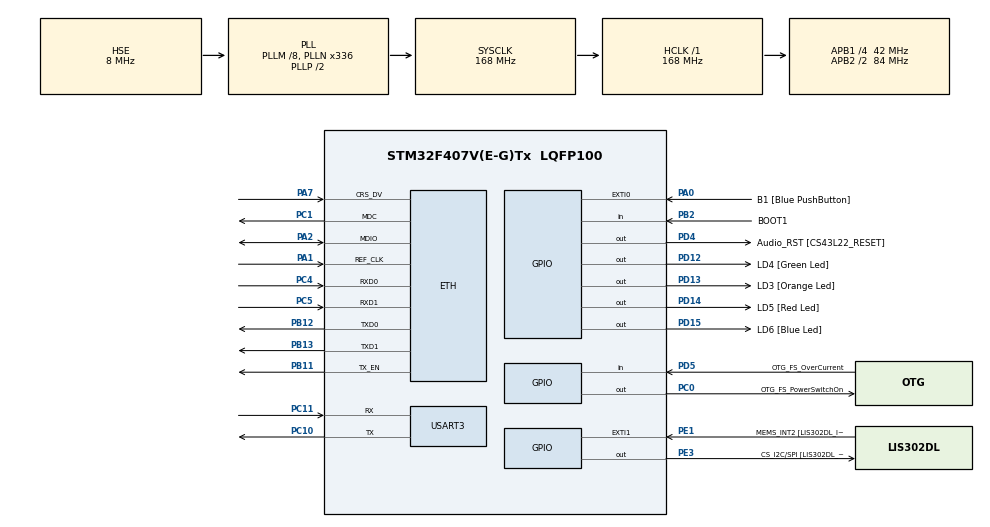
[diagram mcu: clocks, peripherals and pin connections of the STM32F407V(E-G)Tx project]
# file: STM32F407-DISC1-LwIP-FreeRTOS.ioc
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ETH.MediaInterface=HAL_ETH_RMII_MODE
ETH.PHY_Name_RMII=DP83848_PHY_ADDRESS
FREERTOS.Tasks01=defaultTask,24,256,StartDefaultTask,Default,NULL,Dynamic,NULL,NULL
FREERTOS.configGENERATE_RUN_TIME_STATS=1
FREERTOS.configRECORD_STACK_HIGH_ADDRESS=1
LWIP.BSP.number=1
LWIP.DHCP_DEBUG=LWIP_DBG_ON
LWIP.ICMP_DEBUG=LWIP_DBG_ON
LWIP.Version=v2.1.2_Cube
LWIP0.BSP.STBoard=false
LWIP0.BSP.api=BSP_COMPONENT_DRIVER
LWIP0.BSP.component=DP83848
LWIP0.BSP.instance=DP83848
LWIP0.BSP.name=Driver_PHY
LWIP0.BSP.semaphore=S_DP83848
LWIP0.BSP.solution=DP83848
Mcu.Family=STM32F4
Mcu.Name=STM32F407V(E-G)Tx
Mcu.Package=LQFP100
NVIC.ETH_IRQn=true\:5\:0\:false\:false\:true\:true\:false\:true\:true
NVIC.PriorityGroup=NVIC_PRIORITYGROUP_4
NVIC.TIM6_DAC_IRQn=true\:15\:0\:false\:false\:true\:false\:false\:true\:true
NVIC.TimeBase=TIM6_DAC_IRQn
NVIC.TimeBaseIP=TIM6
PA0-WKUP.GPIO_Label=B1 [Blue PushButton]
PA0-WKUP.Signal=GPXTI0
PA1.Mode=RMII
PA1.Signal=ETH_REF_CLK
PA10.GPIO_Label=OTG_FS_ID
PA10.GPIO_Mode=GPIO_MODE_AF_PP
PA10.GPIO_PuPd=GPIO_NOPULL
PA10.GPIO_Speed=GPIO_SPEED_FREQ_LOW
PA10.Signal=USB_OTG_FS_ID
PA11.GPIO_Label=OTG_FS_DM
PA11.GPIO_Mode=GPIO_MODE_AF_PP
PA11.GPIO_PuPd=GPIO_NOPULL
PA11.GPIO_Speed=GPIO_SPEED_FREQ_LOW
PA11.Signal=USB_OTG_FS_DM
PA12.GPIO_Label=OTG_FS_DP
PA12.GPIO_Mode=GPIO_MODE_AF_PP
PA12.GPIO_PuPd=GPIO_NOPULL
PA12.GPIO_Speed=GPIO_SPEED_FREQ_LOW
PA12.Signal=USB_OTG_FS_DP
PA13.GPIO_Label=SWDIO
PA13.Mode=Serial_Wire
PA13.Signal=SYS_JTMS-SWDIO
PA14.GPIO_Label=SWCLK
PA14.Mode=Serial_Wire
PA14.Signal=SYS_JTCK-SWCLK
PA2.Mode=RMII
PA2.Signal=ETH_MDIO
PA4.GPIO_Label=I2S3_WS [CS43L22_LRCK]
PA4.GPIO_Mode=GPIO_MODE_AF_PP
PA4.GPIO_PuPd=GPIO_NOPULL
PA4.GPIO_Speed=GPIO_SPEED_FREQ_LOW
PA4.Signal=I2S3_WS
PA5.GPIO_Label=SPI1_SCK [LIS302DL_SCL/SPC]
PA5.GPIO_Mode=GPIO_MODE_AF_PP
PA5.GPIO_PuPd=GPIO_NOPULL
PA5.GPIO_Speed=GPIO_SPEED_FREQ_LOW
PA5.Signal=SPI1_SCK
PA6.GPIO_Label=SPI1_MISO [LIS302DL_SDO]
PA6.GPIO_Mode=GPIO_MODE_AF_PP
PA6.GPIO_PuPd=GPIO_NOPULL
PA6.GPIO_Speed=GPIO_SPEED_FREQ_LOW
PA6.Signal=SPI1_MISO
PA7.Mode=RMII
PA7.Signal=ETH_CRS_DV
PA9.GPIO_Label=VBUS_FS
PA9.GPIO_Mode=GPIO_MODE_INPUT
PA9.GPIO_PuPd=GPIO_NOPULL
PA9.Signal=USB_OTG_FS_VBUS
PB10.GPIO_Label=CLK_IN [MP45DT02_CLK]
PB10.GPIO_Mode=GPIO_MODE_AF_PP
PB10.GPIO_PuPd=GPIO_NOPULL
PB10.GPIO_Speed=GPIO_SPEED_FREQ_LOW
PB10.Signal=I2S2_CK
PB11.Mode=RMII
PB11.Signal=ETH_TX_EN
PB12.Mode=RMII
PB12.Signal=ETH_TXD0
PB13.Mode=RMII
PB13.Signal=ETH_TXD1
PB2.GPIO_Label=BOOT1
PB2.GPIO_Mode=GPIO_MODE_INPUT
PB2.GPIO_PuPd=GPIO_NOPULL
PB2.Signal=GPIO_Input
PB3.GPIO_Label=SWO
PB3.Signal=SYS_JTDO-SWO
PB6.GPIO_Label=Audio_SCL [CS43L22_SCL]
PB6.GPIO_Mode=GPIO_MODE_AF_OD
PB6.GPIO_PuPd=GPIO_NOPULL
PB6.GPIO_Speed=GPIO_SPEED_FREQ_LOW
PB6.Signal=I2C1_SCL
PB9.GPIO_Label=Audio_SDA [CS43L22_SDA]
PB9.GPIO_Mode=GPIO_MODE_AF_OD
PB9.GPIO_PuPd=GPIO_NOPULL
PB9.GPIO_Speed=GPIO_SPEED_FREQ_LOW
PB9.Signal=I2C1_SDA
PC0.GPIO_Label=OTG_FS_PowerSwitchOn
PC0.GPIO_PuPd=GPIO_NOPULL
PC0.GPIO_Speed=GPIO_SPEED_FREQ_LOW
PC0.PinState=GPIO_PIN_SET
PC0.Signal=GPIO_Output
PC1.Mode=RMII
PC1.Signal=ETH_MDC
PC10.Mode=Asynchronous
PC10.Signal=USART3_TX
PC11.Mode=Asynchronous
PC11.Signal=USART3_RX
PC12.GPIO_Label=I2S3_SD [CS43L22_SDIN]
PC12.GPIO_Mode=GPIO_MODE_AF_PP
PC12.GPIO_PuPd=GPIO_NOPULL
PC12.GPIO_Speed=GPIO_SPEED_FREQ_LOW
PC12.Signal=I2S3_SD
PC14-OSC32_IN.GPIO_Label=PC14-OSC32_IN
PC14-OSC32_IN.Signal=RCC_OSC32_IN
PC15-OSC32_OUT.GPIO_Label=PC15-OSC32_OUT
PC15-OSC32_OUT.Signal=RCC_OSC32_OUT
PC3.GPIO_Label=PDM_OUT [MP45DT02_DOUT]
PC3.GPIO_Mode=GPIO_MODE_AF_PP
PC3.GPIO_PuPd=GPIO_NOPULL
PC3.GPIO_Speed=GPIO_SPEED_FREQ_LOW
PC3.Signal=I2S2_SD
PC4.Mode=RMII
PC4.Signal=ETH_RXD0
PC5.Mode=RMII
PC5.Signal=ETH_RXD1
PC7.GPIO_Label=I2S3_MCK [CS43L22_MCLK]
PC7.GPIO_Mode=GPIO_MODE_AF_PP
PC7.GPIO_PuPd=GPIO_NOPULL
PC7.GPIO_Speed=GPIO_SPEED_FREQ_LOW
PC7.Signal=I2S3_MCK
PD12.GPIO_Label=LD4 [Green Led]
PD12.GPIO_PuPd=GPIO_NOPULL
PD12.GPIO_Speed=GPIO_SPEED_FREQ_LOW
PD12.Signal=GPIO_Output
PD13.GPIO_Label=LD3 [Orange Led]
PD13.GPIO_PuPd=GPIO_NOPULL
PD13.GPIO_Speed=GPIO_SPEED_FREQ_LOW
PD13.Signal=GPIO_Output
PD14.GPIO_Label=LD5 [Red Led]
PD14.GPIO_PuPd=GPIO_NOPULL
PD14.GPIO_Speed=GPIO_SPEED_FREQ_LOW
PD14.Signal=GPIO_Output
PD15.GPIO_Label=LD6 [Blue Led]
PD15.GPIO_PuPd=GPIO_NOPULL
PD15.GPIO_Speed=GPIO_SPEED_FREQ_LOW
PD15.Signal=GPIO_Output
PD4.GPIO_Label=Audio_RST [CS43L22_RESET]
PD4.GPIO_PuPd=GPIO_NOPULL
PD4.GPIO_Speed=GPIO_SPEED_FREQ_LOW
PD4.Signal=GPIO_Output
PD5.GPIO_Label=OTG_FS_OverCurrent
PD5.GPIO_Mode=GPIO_MODE_INPUT
PD5.GPIO_PuPd=GPIO_NOPULL
PD5.Signal=GPIO_Input
PE1.GPIO_Label=MEMS_INT2 [LIS302DL_INT2]
PE1.GPIO_ModeDefaultEXTI=GPIO_MODE_EVT_RISING
PE1.GPIO_PuPd=GPIO_NOPULL
PE1.Signal=GPXTI1
PE3.GPIO_Label=CS_I2C/SPI [LIS302DL_CS_I2C/SPI]
PE3.GPIO_PuPd=GPIO_NOPULL
PE3.GPIO_Speed=GPIO_SPEED_FREQ_LOW
PE3.Signal=GPIO_Output
PH0-OSC_IN.GPIO_Label=PH0-OSC_IN
PH0-OSC_IN.Mode=HSE-External-Oscillator
PH0-OSC_IN.Signal=RCC_OSC_IN
PH1-OSC_OUT.GPIO_Label=PH1-OSC_OUT
PH1-OSC_OUT.Mode=HSE-External-Oscillator
PH1-OSC_OUT.Signal=RCC_OSC_OUT
ProjectManager.HeapSize=0x200
ProjectManager.StackSize=0x400
ProjectManager.TargetToolchain=Makefile
RCC.48MHZClocksFreq_Value=48000000
RCC.AHBFreq_Value=168000000
RCC.APB1CLKDivider=RCC_HCLK_DIV4
RCC.APB1Freq_Value=42000000
RCC.APB1TimFreq_Value=84000000
RCC.APB2CLKDivider=RCC_HCLK_DIV2
RCC.APB2Freq_Value=84000000
RCC.APB2TimFreq_Value=168000000
RCC.CortexFreq_Value=168000000
RCC.HCLKFreq_Value=168000000
RCC.HSE_VALUE=8000000
RCC.HSI_VALUE=16000000
RCC.LSE_VALUE=32768
RCC.PLLM=8
RCC.PLLN=336
RCC.PLLQ=7
RCC.PLLSourceVirtual=RCC_PLLSOURCE_HSE
RCC.SYSCLKFreq_VALUE=168000000
RCC.SYSCLKSource=RCC_SYSCLKSOURCE_PLLCLK
RCC.VCOOutputFreq_Value=336000000
USART3.VirtualMode=VM_ASYNC
VP_FREERTOS_VS_CMSIS_V2.Mode=CMSIS_V2
VP_LWIP_VS_Enabled.Mode=Enabled
VP_SYS_VS_tim6.Mode=TIM6
board=STM32F407G-DISC1

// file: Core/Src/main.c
/* USER CODE BEGIN Header */
/**
  ******************************************************************************
  * @file           : main.c
  * @brief          : Main program body
  ******************************************************************************
  * @attention
  *
  * Copyright (c) 2023 STMicroelectronics.
  * All rights reserved.
  *
  * This software is licensed under terms that can be found in the LICENSE file
  * in the root directory of this software component.
  * If no LICENSE file comes with this software, it is provided AS-IS.
  *
  ******************************************************************************
  */
/* USER CODE END Header */
#include "main.h"
#include "cmsis_os.h"
#include "lwip.h"

/* USER CODE BEGIN Includes */
#include "retarget.h"
/* USER CODE END Includes */

UART_HandleTypeDef huart3;

/* Definitions for defaultTask */
osThreadId_t defaultTaskHandle;
const osThreadAttr_t defaultTask_attributes = {
  .name = "defaultTask",
  .stack_size = 256 * 4,
  .priority = (osPriority_t) osPriorityNormal,
};

void SystemClock_Config(void);
static void MX_GPIO_Init(void);
static void MX_USART3_UART_Init(void);
void StartDefaultTask(void *argument);

int main(void)
{

  /* MCU Configuration--------------------------------------------------------*/

  /* Reset of all peripherals, Initializes the Flash interface and the Systick. */
  HAL_Init();

  /* Configure the system clock */
  SystemClock_Config();

  /* Initialize all configured peripherals */
  MX_GPIO_Init();
  MX_USART3_UART_Init();
  /* USER CODE BEGIN 2 */
  RetargetInit(&huart3);
  setvbuf(stdin, NULL, _IONBF, 0);
  setvbuf(stdout, NULL, _IONBF, 0);
  setvbuf(stderr, NULL, _IONBF, 0);
  /* USER CODE END 2 */

  /* Init scheduler */
  osKernelInitialize();

  /* Create the thread(s) */
  /* creation of defaultTask */
  defaultTaskHandle = osThreadNew(StartDefaultTask, NULL, &defaultTask_attributes);

  /* Start scheduler */
  osKernelStart();

  /* We should never get here as control is now taken by the scheduler */
  /* Infinite loop */
  while (1)
  {

  }
}

void SystemClock_Config(void)
{
  RCC_OscInitTypeDef RCC_OscInitStruct = {0};
  RCC_ClkInitTypeDef RCC_ClkInitStruct = {0};

  /** Configure the main internal regulator output voltage
  */
  __HAL_RCC_PWR_CLK_ENABLE();
  __HAL_PWR_VOLTAGESCALING_CONFIG(PWR_REGULATOR_VOLTAGE_SCALE1);

  /** Initializes the RCC Oscillators according to the specified parameters
  * in the RCC_OscInitTypeDef structure.
  */
  RCC_OscInitStruct.OscillatorType = RCC_OSCILLATORTYPE_HSE;
  RCC_OscInitStruct.HSEState = RCC_HSE_ON;
  RCC_OscInitStruct.PLL.PLLState = RCC_PLL_ON;
  RCC_OscInitStruct.PLL.PLLSource = RCC_PLLSOURCE_HSE;
  RCC_OscInitStruct.PLL.PLLM = 8;
  RCC_OscInitStruct.PLL.PLLN = 336;
  RCC_OscInitStruct.PLL.PLLP = RCC_PLLP_DIV2;
  RCC_OscInitStruct.PLL.PLLQ = 7;
  if (HAL_RCC_OscConfig(&RCC_OscInitStruct) != HAL_OK)
  {
    Error_Handler();
  }

  /** Initializes the CPU, AHB and APB buses clocks
  */
  RCC_ClkInitStruct.ClockType = RCC_CLOCKTYPE_HCLK|RCC_CLOCKTYPE_SYSCLK
                              |RCC_CLOCKTYPE_PCLK1|RCC_CLOCKTYPE_PCLK2;
  RCC_ClkInitStruct.SYSCLKSource = RCC_SYSCLKSOURCE_PLLCLK;
  RCC_ClkInitStruct.AHBCLKDivider = RCC_SYSCLK_DIV1;
  RCC_ClkInitStruct.APB1CLKDivider = RCC_HCLK_DIV4;
  RCC_ClkInitStruct.APB2CLKDivider = RCC_HCLK_DIV2;

  if (HAL_RCC_ClockConfig(&RCC_ClkInitStruct, FLASH_LATENCY_5) != HAL_OK)
  {
    Error_Handler();
  }
}

static void MX_USART3_UART_Init(void)
{

  huart3.Instance = USART3;
  huart3.Init.BaudRate = 115200;
  huart3.Init.WordLength = UART_WORDLENGTH_8B;
  huart3.Init.StopBits = UART_STOPBITS_1;
  huart3.Init.Parity = UART_PARITY_NONE;
  huart3.Init.Mode = UART_MODE_TX_RX;
  huart3.Init.HwFlowCtl = UART_HWCONTROL_NONE;
  huart3.Init.OverSampling = UART_OVERSAMPLING_16;
  if (HAL_UART_Init(&huart3) != HAL_OK)
  {
    Error_Handler();
  }

}

static void MX_GPIO_Init(void)
{
  GPIO_InitTypeDef GPIO_InitStruct = {0};

  /* GPIO Ports Clock Enable */
  __HAL_RCC_GPIOE_CLK_ENABLE();
  __HAL_RCC_GPIOC_CLK_ENABLE();
  __HAL_RCC_GPIOH_CLK_ENABLE();
  __HAL_RCC_GPIOA_CLK_ENABLE();
  __HAL_RCC_GPIOB_CLK_ENABLE();
  __HAL_RCC_GPIOD_CLK_ENABLE();

  /*Configure GPIO pin Output Level */
  HAL_GPIO_WritePin(CS_I2C_SPI_GPIO_Port, CS_I2C_SPI_Pin, GPIO_PIN_RESET);

  /*Configure GPIO pin Output Level */
  HAL_GPIO_WritePin(OTG_FS_PowerSwitchOn_GPIO_Port, OTG_FS_PowerSwitchOn_Pin, GPIO_PIN_SET);

  /*Configure GPIO pin Output Level */
  HAL_GPIO_WritePin(GPIOD, LD4_Pin|LD3_Pin|LD5_Pin|LD6_Pin
                          |Audio_RST_Pin, GPIO_PIN_RESET);

  /*Configure GPIO pin : CS_I2C_SPI_Pin */
  GPIO_InitStruct.Pin = CS_I2C_SPI_Pin;
  GPIO_InitStruct.Mode = GPIO_MODE_OUTPUT_PP;
  GPIO_InitStruct.Pull = GPIO_NOPULL;
  GPIO_InitStruct.Speed = GPIO_SPEED_FREQ_LOW;
  HAL_GPIO_Init(CS_I2C_SPI_GPIO_Port, &GPIO_InitStruct);

  /*Configure GPIO pin : OTG_FS_PowerSwitchOn_Pin */
  GPIO_InitStruct.Pin = OTG_FS_PowerSwitchOn_Pin;
  GPIO_InitStruct.Mode = GPIO_MODE_OUTPUT_PP;
  GPIO_InitStruct.Pull = GPIO_NOPULL;
  GPIO_InitStruct.Speed = GPIO_SPEED_FREQ_LOW;
  HAL_GPIO_Init(OTG_FS_PowerSwitchOn_GPIO_Port, &GPIO_InitStruct);

  /*Configure GPIO pin : PDM_OUT_Pin */
  GPIO_InitStruct.Pin = PDM_OUT_Pin;
  GPIO_InitStruct.Mode = GPIO_MODE_AF_PP;
  GPIO_InitStruct.Pull = GPIO_NOPULL;
  GPIO_InitStruct.Speed = GPIO_SPEED_FREQ_LOW;
  GPIO_InitStruct.Alternate = GPIO_AF5_SPI2;
  HAL_GPIO_Init(PDM_OUT_GPIO_Port, &GPIO_InitStruct);

  /*Configure GPIO pin : B1_Pin */
  GPIO_InitStruct.Pin = B1_Pin;
  GPIO_InitStruct.Mode = GPIO_MODE_IT_RISING;
  GPIO_InitStruct.Pull = GPIO_NOPULL;
  HAL_GPIO_Init(B1_GPIO_Port, &GPIO_InitStruct);

  /*Configure GPIO pin : I2S3_WS_Pin */
  GPIO_InitStruct.Pin = I2S3_WS_Pin;
  GPIO_InitStruct.Mode = GPIO_MODE_AF_PP;
  GPIO_InitStruct.Pull = GPIO_NOPULL;
  GPIO_InitStruct.Speed = GPIO_SPEED_FREQ_LOW;
  GPIO_InitStruct.Alternate = GPIO_AF6_SPI3;
  HAL_GPIO_Init(I2S3_WS_GPIO_Port, &GPIO_InitStruct);

  /*Configure GPIO pins : SPI1_SCK_Pin SPI1_MISO_Pin */
  GPIO_InitStruct.Pin = SPI1_SCK_Pin|SPI1_MISO_Pin;
  GPIO_InitStruct.Mode = GPIO_MODE_AF_PP;
  GPIO_InitStruct.Pull = GPIO_NOPULL;
  GPIO_InitStruct.Speed = GPIO_SPEED_FREQ_LOW;
  GPIO_InitStruct.Alternate = GPIO_AF5_SPI1;
  HAL_GPIO_Init(GPIOA, &GPIO_InitStruct);

  /*Configure GPIO pin : BOOT1_Pin */
  GPIO_InitStruct.Pin = BOOT1_Pin;
  GPIO_InitStruct.Mode = GPIO_MODE_INPUT;
  GPIO_InitStruct.Pull = GPIO_NOPULL;
  HAL_GPIO_Init(BOOT1_GPIO_Port, &GPIO_InitStruct);

  /*Configure GPIO pin : CLK_IN_Pin */
  GPIO_InitStruct.Pin = CLK_IN_Pin;
  GPIO_InitStruct.Mode = GPIO_MODE_AF_PP;
  GPIO_InitStruct.Pull = GPIO_NOPULL;
  GPIO_InitStruct.Speed = GPIO_SPEED_FREQ_LOW;
  GPIO_InitStruct.Alternate = GPIO_AF5_SPI2;
  HAL_GPIO_Init(CLK_IN_GPIO_Port, &GPIO_InitStruct);

  /*Configure GPIO pins : LD4_Pin LD3_Pin LD5_Pin LD6_Pin
                           Audio_RST_Pin */
  GPIO_InitStruct.Pin = LD4_Pin|LD3_Pin|LD5_Pin|LD6_Pin
                          |Audio_RST_Pin;
  GPIO_InitStruct.Mode = GPIO_MODE_OUTPUT_PP;
  GPIO_InitStruct.Pull = GPIO_NOPULL;
  GPIO_InitStruct.Speed = GPIO_SPEED_FREQ_LOW;
  HAL_GPIO_Init(GPIOD, &GPIO_InitStruct);

  /*Configure GPIO pins : I2S3_MCK_Pin I2S3_SD_Pin */
  GPIO_InitStruct.Pin = I2S3_MCK_Pin|I2S3_SD_Pin;
  GPIO_InitStruct.Mode = GPIO_MODE_AF_PP;
  GPIO_InitStruct.Pull = GPIO_NOPULL;
  GPIO_InitStruct.Speed = GPIO_SPEED_FREQ_LOW;
  GPIO_InitStruct.Alternate = GPIO_AF6_SPI3;
  HAL_GPIO_Init(GPIOC, &GPIO_InitStruct);

  /*Configure GPIO pin : VBUS_FS_Pin */
  GPIO_InitStruct.Pin = VBUS_FS_Pin;
  GPIO_InitStruct.Mode = GPIO_MODE_INPUT;
  GPIO_InitStruct.Pull = GPIO_NOPULL;
  HAL_GPIO_Init(VBUS_FS_GPIO_Port, &GPIO_InitStruct);

  /*Configure GPIO pins : OTG_FS_ID_Pin OTG_FS_DM_Pin OTG_FS_DP_Pin */
  GPIO_InitStruct.Pin = OTG_FS_ID_Pin|OTG_FS_DM_Pin|OTG_FS_DP_Pin;
  GPIO_InitStruct.Mode = GPIO_MODE_AF_PP;
  GPIO_InitStruct.Pull = GPIO_NOPULL;
  GPIO_InitStruct.Speed = GPIO_SPEED_FREQ_LOW;
  GPIO_InitStruct.Alternate = GPIO_AF10_OTG_FS;
  HAL_GPIO_Init(GPIOA, &GPIO_InitStruct);

  /*Configure GPIO pin : OTG_FS_OverCurrent_Pin */
  GPIO_InitStruct.Pin = OTG_FS_OverCurrent_Pin;
  GPIO_InitStruct.Mode = GPIO_MODE_INPUT;
  GPIO_InitStruct.Pull = GPIO_NOPULL;
  HAL_GPIO_Init(OTG_FS_OverCurrent_GPIO_Port, &GPIO_InitStruct);

  /*Configure GPIO pins : Audio_SCL_Pin Audio_SDA_Pin */
  GPIO_InitStruct.Pin = Audio_SCL_Pin|Audio_SDA_Pin;
  GPIO_InitStruct.Mode = GPIO_MODE_AF_OD;
  GPIO_InitStruct.Pull = GPIO_NOPULL;
  GPIO_InitStruct.Speed = GPIO_SPEED_FREQ_LOW;
  GPIO_InitStruct.Alternate = GPIO_AF4_I2C1;
  HAL_GPIO_Init(GPIOB, &GPIO_InitStruct);

  /*Configure GPIO pin : MEMS_INT2_Pin */
  GPIO_InitStruct.Pin = MEMS_INT2_Pin;
  GPIO_InitStruct.Mode = GPIO_MODE_EVT_RISING;
  GPIO_InitStruct.Pull = GPIO_NOPULL;
  HAL_GPIO_Init(MEMS_INT2_GPIO_Port, &GPIO_InitStruct);

}

/* USER CODE BEGIN 4 */
void configureTimerForRunTimeStats(void)
{
  /* nothing to configure here, we use uwTick */
}

unsigned long getRunTimeCounterValue(void)
{
	return uwTick;
}
/* USER CODE END 4 */

void StartDefaultTask(void *argument)
{
  /* init code for LWIP */
  MX_LWIP_Init();
  /* USER CODE BEGIN 5 */
  static uint32_t counter;
  GPIO_PinState button_pressed = 0;
  app_init();
  /* Infinite loop */
  for(;;)
  {
    button_pressed = HAL_GPIO_ReadPin(B1_GPIO_Port, B1_Pin);

    if (button_pressed == GPIO_PIN_SET) {
      HAL_GPIO_WritePin(LD4_GPIO_Port, LD4_Pin, GPIO_PIN_SET);
      while(HAL_GPIO_ReadPin(B1_GPIO_Port, B1_Pin));
      app_trigger();
    }
    else {
      HAL_GPIO_WritePin(LD4_GPIO_Port, LD4_Pin, GPIO_PIN_RESET);
    }

    HAL_GPIO_TogglePin(LD3_GPIO_Port, LD3_Pin);
    printf("%s(%d,%lu)\n", __func__, __LINE__, counter++);
    osDelay(100);
  }
  /* USER CODE END 5 */
}

void HAL_TIM_PeriodElapsedCallback(TIM_HandleTypeDef *htim)
{
  if (htim->Instance == TIM6) {
    HAL_IncTick();
  }
}

void Error_Handler(void)
{
  __disable_irq();
  while (1)
  {
  }
}

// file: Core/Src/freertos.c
/* USER CODE BEGIN Header */
/**
  ******************************************************************************
  * File Name          : freertos.c
  * Description        : Code for freertos applications
  ******************************************************************************
  * @attention
  *
  * Copyright (c) 2023 STMicroelectronics.
  * All rights reserved.
  *
  * This software is licensed under terms that can be found in the LICENSE file
  * in the root directory of this software component.
  * If no LICENSE file comes with this software, it is provided AS-IS.
  *
  ******************************************************************************
  */
/* USER CODE END Header */

#include "FreeRTOS.h"
#include "task.h"
#include "main.h"

/* Hook prototypes */
void configureTimerForRunTimeStats(void);
unsigned long getRunTimeCounterValue(void);

/* USER CODE BEGIN 1 */
/* Functions needed when configGENERATE_RUN_TIME_STATS is on */
__weak void configureTimerForRunTimeStats(void)
{

}

__weak unsigned long getRunTimeCounterValue(void)
{
return 0;
}
/* USER CODE END 1 */
